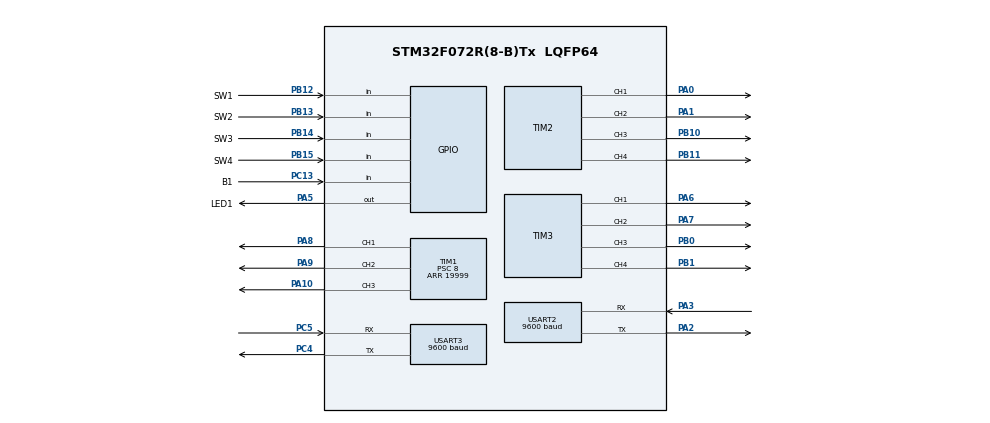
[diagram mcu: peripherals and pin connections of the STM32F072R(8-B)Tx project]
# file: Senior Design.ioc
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Mcu.Family=STM32F0
Mcu.Name=STM32F072R(8-B)Tx
Mcu.Package=LQFP64
NVIC.RCC_CRS_IRQn=true\:0\:0\:false\:false\:true\:true
PA0.Signal=S_TIM2_CH1_ETR
PA1.Signal=S_TIM2_CH2
PA10.Signal=S_TIM1_CH3
PA2.Mode=Asynchronous
PA2.Signal=USART2_TX
PA3.Mode=Asynchronous
PA3.Signal=USART2_RX
PA5.GPIO_Label=LED1
PA5.Signal=GPIO_Output
PA6.Signal=S_TIM3_CH1
PA7.Signal=S_TIM3_CH2
PA8.GPIO_Speed=GPIO_SPEED_FREQ_HIGH
PA8.Signal=S_TIM1_CH1
PA9.Signal=S_TIM1_CH2
PB0.Signal=S_TIM3_CH3
PB1.Signal=S_TIM3_CH4
PB10.Signal=S_TIM2_CH3
PB11.Signal=S_TIM2_CH4
PB12.GPIO_Label=SW1
PB12.GPIO_PuPd=GPIO_PULLDOWN
PB12.Signal=GPIO_Input
PB13.GPIO_Label=SW2
PB13.GPIO_PuPd=GPIO_PULLDOWN
PB13.Signal=GPIO_Input
PB14.GPIO_Label=SW3
PB14.GPIO_PuPd=GPIO_PULLDOWN
PB14.Signal=GPIO_Input
PB15.GPIO_Label=SW4
PB15.GPIO_PuPd=GPIO_PULLDOWN
PB15.Signal=GPIO_Input
PC13.GPIO_Label=B1
PC13.Signal=GPIO_Input
PC4.Mode=Asynchronous
PC4.Signal=USART3_TX
PC5.Mode=Asynchronous
PC5.Signal=USART3_RX
PF0-OSC_IN.Mode=HSE-External-Oscillator
PF0-OSC_IN.Signal=RCC_OSC_IN
PF1-OSC_OUT.Mode=HSE-External-Oscillator
PF1-OSC_OUT.Signal=RCC_OSC_OUT
ProjectManager.HeapSize=0x200
ProjectManager.StackSize=0x400
ProjectManager.TargetToolchain=MDK-ARM V5
SH.S_TIM1_CH1.0=TIM1_CH1,PWM Generation1 CH1
SH.S_TIM1_CH2.0=TIM1_CH2,PWM Generation2 CH2
SH.S_TIM1_CH3.0=TIM1_CH3,PWM Generation3 CH3
SH.S_TIM2_CH1_ETR.0=TIM2_CH1,PWM Generation1 CH1
SH.S_TIM2_CH2.0=TIM2_CH2,PWM Generation2 CH2
SH.S_TIM2_CH3.0=TIM2_CH3,PWM Generation3 CH3
SH.S_TIM2_CH4.0=TIM2_CH4,PWM Generation4 CH4
SH.S_TIM3_CH1.0=TIM3_CH1,PWM Generation1 CH1
SH.S_TIM3_CH2.0=TIM3_CH2,PWM Generation2 CH2
SH.S_TIM3_CH3.0=TIM3_CH3,PWM Generation3 CH3
SH.S_TIM3_CH4.0=TIM3_CH4,PWM Generation4 CH4
TIM1.Channel-PWM\ Generation1\ CH1=TIM_CHANNEL_1
TIM1.Channel-PWM\ Generation2\ CH2=TIM_CHANNEL_2
TIM1.Channel-PWM\ Generation3\ CH3=TIM_CHANNEL_3
TIM1.OCFastMode_PWM-PWM\ Generation1\ CH1=TIM_OCFAST_ENABLE
TIM1.Period=19999
TIM1.Prescaler=8
TIM2.Channel-PWM\ Generation1\ CH1=TIM_CHANNEL_1
TIM2.Channel-PWM\ Generation2\ CH2=TIM_CHANNEL_2
TIM2.Channel-PWM\ Generation3\ CH3=TIM_CHANNEL_3
TIM2.Channel-PWM\ Generation4\ CH4=TIM_CHANNEL_4
TIM3.Channel-PWM\ Generation1\ CH1=TIM_CHANNEL_1
TIM3.Channel-PWM\ Generation2\ CH2=TIM_CHANNEL_2
TIM3.Channel-PWM\ Generation3\ CH3=TIM_CHANNEL_3
TIM3.Channel-PWM\ Generation4\ CH4=TIM_CHANNEL_4
USART2.BaudRate=9600
USART2.VirtualMode-Asynchronous=VM_ASYNC
USART3.BaudRate=9600
USART3.VirtualMode-Asynchronous=VM_ASYNC
board=custom

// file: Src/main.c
/**
  ******************************************************************************
  * @file           : main.c
  * @brief          : Main program body
  ******************************************************************************
  ** This notice applies to any and all portions of this file
  * that are not between comment pairs USER CODE BEGIN and
  * USER CODE END. Other portions of this file, whether
  * inserted by the user or by software development tools
  * are owned by their respective copyright owners.
  *
  * COPYRIGHT(c) 2018 STMicroelectronics
  *
  * Redistribution and use in source and binary forms, with or without modification,
  * are permitted provided that the following conditions are met:
  *   1. Redistributions of source code must retain the above copyright notice,
  *      this list of conditions and the following disclaimer.
  *   2. Redistributions in binary form must reproduce the above copyright notice,
  *      this list of conditions and the following disclaimer in the documentation
  *      and/or other materials provided with the distribution.
  *   3. Neither the name of STMicroelectronics nor the names of its contributors
  *      may be used to endorse or promote products derived from this software
  *      without specific prior written permission.
  *
  * THIS SOFTWARE IS PROVIDED BY THE COPYRIGHT HOLDERS AND CONTRIBUTORS "AS IS"
  * AND ANY EXPRESS OR IMPLIED WARRANTIES, INCLUDING, BUT NOT LIMITED TO, THE
  * IMPLIED WARRANTIES OF MERCHANTABILITY AND FITNESS FOR A PARTICULAR PURPOSE ARE
  * DISCLAIMED. IN NO EVENT SHALL THE COPYRIGHT HOLDER OR CONTRIBUTORS BE LIABLE
  * FOR ANY DIRECT, INDIRECT, INCIDENTAL, SPECIAL, EXEMPLARY, OR CONSEQUENTIAL
  * DAMAGES (INCLUDING, BUT NOT LIMITED TO, PROCUREMENT OF SUBSTITUTE GOODS OR
  * SERVICES; LOSS OF USE, DATA, OR PROFITS; OR BUSINESS INTERRUPTION) HOWEVER
  * CAUSED AND ON ANY THEORY OF LIABILITY, WHETHER IN CONTRACT, STRICT LIABILITY,
  * OR TORT (INCLUDING NEGLIGENCE OR OTHERWISE) ARISING IN ANY WAY OUT OF THE USE
  * OF THIS SOFTWARE, EVEN IF ADVISED OF THE POSSIBILITY OF SUCH DAMAGE.
  *
  ******************************************************************************
  */
#include "main.h"
#include "stm32f0xx_hal.h"

TIM_HandleTypeDef htim1;
TIM_HandleTypeDef htim2;
TIM_HandleTypeDef htim3;

UART_HandleTypeDef huart2;
UART_HandleTypeDef huart3;

/* USER CODE BEGIN PV */
/* Private variables ---------------------------------------------------------*/

/* USER CODE END PV */

void SystemClock_Config(void);
static void MX_GPIO_Init(void);
static void MX_TIM1_Init(void);
static void MX_USART3_UART_Init(void);
static void MX_USART2_UART_Init(void);
static void MX_TIM2_Init(void);
static void MX_TIM3_Init(void);
void HAL_TIM_MspPostInit(TIM_HandleTypeDef *htim);

/* USER CODE BEGIN PFP */
/* Private function prototypes -----------------------------------------------*/
uint8_t recieve_data(void){

}
uint8_t run_switch(uint8_t instruct){
    if(instruct == 0x01){ //switch 0 to state 1
        TIM1->CCR1 = 1175;
        return 1;
    }
    else if(instruct == 0x00){
        TIM1->CCR1 = 1350;
        return 1;
    }
    else if(instruct == 0x03){
        TIM1->CCR2 = 1175;
        return 1;
    }
    else if(instruct == 0x02){
        TIM1->CCR2 = 1350;
        return 1;
    }
    else{
        return 0;
    }
}
uint8_t recieve_command(void){

}
/* USER CODE END PFP */

int main(void)
{

  /* MCU Configuration----------------------------------------------------------*/

  /* Reset of all peripherals, Initializes the Flash interface and the Systick. */
  HAL_Init();

  /* USER CODE BEGIN Init */
    uint8_t data;
    uint8_t packet_started = 0;
    uint8_t packet_index = 0;
    uint8_t packet[256];
  /* USER CODE END Init */

  /* Configure the system clock */
  SystemClock_Config();

  /* Initialize all configured peripherals */
  MX_GPIO_Init();
  MX_TIM1_Init();
  MX_USART3_UART_Init();
  MX_USART2_UART_Init();
  MX_TIM2_Init();
  MX_TIM3_Init();
  /* USER CODE BEGIN 2 */
  HAL_TIM_PWM_Start(&htim1, TIM_CHANNEL_1); //start timer1, channel 1
  HAL_TIM_PWM_Start(&htim1, TIM_CHANNEL_2); //start timer1, channel 2
  HAL_TIM_PWM_Start(&htim1, TIM_CHANNEL_3); //start timer1, channel 3
  //TIM1->CCR1 = 1800;
  //TIM1->CCR2 = 1800;
  //TIM1->CCR3 = 1800;
  /* USER CODE END 2 */

  /* Infinite loop */
  /* USER CODE BEGIN WHILE */
  while (1)
  {
    // uart over usb debugging
    //char msg[] = "Hi!\n";
    //HAL_UART_Transmit(&huart2, (uint8_t*)msg, 4, HAL_MAX_DELAY);

    while(HAL_UART_Receive(&huart2,&data, 1, HAL_MAX_DELAY) != HAL_OK){}
    //HAL_GPIO_WritePin(GPIOA, LED2_Pin, GPIO_PIN_SET);    //test LED PA9
    //HAL_UART_Transmit(&huart2, &data, 1, HAL_MAX_DELAY);  //UART test code for dev board
    if((data == 0x7E) && !packet_started)
    {
      packet[0] = data;
      packet_index = 1;
      packet_started = 1;
    }
    else if(packet_started)
    {
      packet[packet_index] = data;
      packet_index++;

      if(packet_index > 3)
      {
        uint8_t length = packet[2];
        if(packet_index == (length + 4))
        {
          // Receive data
          if(packet[3] == 0x90)
          {
            // Packet complete
                run_switch(packet[15]);
          }

          // Reset all counters
          packet_started = 0;
          packet_index = 0;
        }
      }
    }
  /* USER CODE END WHILE */

  }

}

void SystemClock_Config(void)
{

  RCC_OscInitTypeDef RCC_OscInitStruct;
  RCC_ClkInitTypeDef RCC_ClkInitStruct;
  RCC_PeriphCLKInitTypeDef PeriphClkInit;

    /**Initializes the CPU, AHB and APB busses clocks
    */
  RCC_OscInitStruct.OscillatorType = RCC_OSCILLATORTYPE_HSI;
  RCC_OscInitStruct.HSIState = RCC_HSI_ON;
  RCC_OscInitStruct.HSICalibrationValue = 16;
  RCC_OscInitStruct.PLL.PLLState = RCC_PLL_NONE;
  if (HAL_RCC_OscConfig(&RCC_OscInitStruct) != HAL_OK)
  {
    _Error_Handler(__FILE__, __LINE__);
  }

    /**Initializes the CPU, AHB and APB busses clocks
    */
  RCC_ClkInitStruct.ClockType = RCC_CLOCKTYPE_HCLK|RCC_CLOCKTYPE_SYSCLK
                              |RCC_CLOCKTYPE_PCLK1;
  RCC_ClkInitStruct.SYSCLKSource = RCC_SYSCLKSOURCE_HSI;
  RCC_ClkInitStruct.AHBCLKDivider = RCC_SYSCLK_DIV1;
  RCC_ClkInitStruct.APB1CLKDivider = RCC_HCLK_DIV1;

  if (HAL_RCC_ClockConfig(&RCC_ClkInitStruct, FLASH_LATENCY_0) != HAL_OK)
  {
    _Error_Handler(__FILE__, __LINE__);
  }

  PeriphClkInit.PeriphClockSelection = RCC_PERIPHCLK_USART2;
  PeriphClkInit.Usart2ClockSelection = RCC_USART2CLKSOURCE_PCLK1;
  if (HAL_RCCEx_PeriphCLKConfig(&PeriphClkInit) != HAL_OK)
  {
    _Error_Handler(__FILE__, __LINE__);
  }

    /**Configure the Systick interrupt time
    */
  HAL_SYSTICK_Config(HAL_RCC_GetHCLKFreq()/1000);

    /**Configure the Systick
    */
  HAL_SYSTICK_CLKSourceConfig(SYSTICK_CLKSOURCE_HCLK);

  /* SysTick_IRQn interrupt configuration */
  HAL_NVIC_SetPriority(SysTick_IRQn, 0, 0);
}

/* TIM1 init function */
static void MX_TIM1_Init(void)
{

  TIM_MasterConfigTypeDef sMasterConfig;
  TIM_OC_InitTypeDef sConfigOC;
  TIM_BreakDeadTimeConfigTypeDef sBreakDeadTimeConfig;

  htim1.Instance = TIM1;
  htim1.Init.Prescaler = 8;
  htim1.Init.CounterMode = TIM_COUNTERMODE_UP;
  htim1.Init.Period = 19999;
  htim1.Init.ClockDivision = TIM_CLOCKDIVISION_DIV1;
  htim1.Init.RepetitionCounter = 0;
  htim1.Init.AutoReloadPreload = TIM_AUTORELOAD_PRELOAD_DISABLE;
  if (HAL_TIM_PWM_Init(&htim1) != HAL_OK)
  {
    _Error_Handler(__FILE__, __LINE__);
  }

  sMasterConfig.MasterOutputTrigger = TIM_TRGO_RESET;
  sMasterConfig.MasterSlaveMode = TIM_MASTERSLAVEMODE_DISABLE;
  if (HAL_TIMEx_MasterConfigSynchronization(&htim1, &sMasterConfig) != HAL_OK)
  {
    _Error_Handler(__FILE__, __LINE__);
  }

  sConfigOC.OCMode = TIM_OCMODE_PWM1;
  sConfigOC.Pulse = 0;
  sConfigOC.OCPolarity = TIM_OCPOLARITY_HIGH;
  sConfigOC.OCNPolarity = TIM_OCNPOLARITY_HIGH;
  sConfigOC.OCFastMode = TIM_OCFAST_ENABLE;
  sConfigOC.OCIdleState = TIM_OCIDLESTATE_RESET;
  sConfigOC.OCNIdleState = TIM_OCNIDLESTATE_RESET;
  if (HAL_TIM_PWM_ConfigChannel(&htim1, &sConfigOC, TIM_CHANNEL_1) != HAL_OK)
  {
    _Error_Handler(__FILE__, __LINE__);
  }

  sConfigOC.OCFastMode = TIM_OCFAST_DISABLE;
  if (HAL_TIM_PWM_ConfigChannel(&htim1, &sConfigOC, TIM_CHANNEL_2) != HAL_OK)
  {
    _Error_Handler(__FILE__, __LINE__);
  }

  if (HAL_TIM_PWM_ConfigChannel(&htim1, &sConfigOC, TIM_CHANNEL_3) != HAL_OK)
  {
    _Error_Handler(__FILE__, __LINE__);
  }

  sBreakDeadTimeConfig.OffStateRunMode = TIM_OSSR_DISABLE;
  sBreakDeadTimeConfig.OffStateIDLEMode = TIM_OSSI_DISABLE;
  sBreakDeadTimeConfig.LockLevel = TIM_LOCKLEVEL_OFF;
  sBreakDeadTimeConfig.DeadTime = 0;
  sBreakDeadTimeConfig.BreakState = TIM_BREAK_DISABLE;
  sBreakDeadTimeConfig.BreakPolarity = TIM_BREAKPOLARITY_HIGH;
  sBreakDeadTimeConfig.AutomaticOutput = TIM_AUTOMATICOUTPUT_DISABLE;
  if (HAL_TIMEx_ConfigBreakDeadTime(&htim1, &sBreakDeadTimeConfig) != HAL_OK)
  {
    _Error_Handler(__FILE__, __LINE__);
  }

  HAL_TIM_MspPostInit(&htim1);

}

/* TIM2 init function */
static void MX_TIM2_Init(void)
{

  TIM_MasterConfigTypeDef sMasterConfig;
  TIM_OC_InitTypeDef sConfigOC;

  htim2.Instance = TIM2;
  htim2.Init.Prescaler = 0;
  htim2.Init.CounterMode = TIM_COUNTERMODE_UP;
  htim2.Init.Period = 0;
  htim2.Init.ClockDivision = TIM_CLOCKDIVISION_DIV1;
  htim2.Init.AutoReloadPreload = TIM_AUTORELOAD_PRELOAD_DISABLE;
  if (HAL_TIM_PWM_Init(&htim2) != HAL_OK)
  {
    _Error_Handler(__FILE__, __LINE__);
  }

  sMasterConfig.MasterOutputTrigger = TIM_TRGO_RESET;
  sMasterConfig.MasterSlaveMode = TIM_MASTERSLAVEMODE_DISABLE;
  if (HAL_TIMEx_MasterConfigSynchronization(&htim2, &sMasterConfig) != HAL_OK)
  {
    _Error_Handler(__FILE__, __LINE__);
  }

  sConfigOC.OCMode = TIM_OCMODE_PWM1;
  sConfigOC.Pulse = 0;
  sConfigOC.OCPolarity = TIM_OCPOLARITY_HIGH;
  sConfigOC.OCFastMode = TIM_OCFAST_DISABLE;
  if (HAL_TIM_PWM_ConfigChannel(&htim2, &sConfigOC, TIM_CHANNEL_1) != HAL_OK)
  {
    _Error_Handler(__FILE__, __LINE__);
  }

  if (HAL_TIM_PWM_ConfigChannel(&htim2, &sConfigOC, TIM_CHANNEL_2) != HAL_OK)
  {
    _Error_Handler(__FILE__, __LINE__);
  }

  if (HAL_TIM_PWM_ConfigChannel(&htim2, &sConfigOC, TIM_CHANNEL_3) != HAL_OK)
  {
    _Error_Handler(__FILE__, __LINE__);
  }

  if (HAL_TIM_PWM_ConfigChannel(&htim2, &sConfigOC, TIM_CHANNEL_4) != HAL_OK)
  {
    _Error_Handler(__FILE__, __LINE__);
  }

  HAL_TIM_MspPostInit(&htim2);

}

/* TIM3 init function */
static void MX_TIM3_Init(void)
{

  TIM_MasterConfigTypeDef sMasterConfig;
  TIM_OC_InitTypeDef sConfigOC;

  htim3.Instance = TIM3;
  htim3.Init.Prescaler = 0;
  htim3.Init.CounterMode = TIM_COUNTERMODE_UP;
  htim3.Init.Period = 0;
  htim3.Init.ClockDivision = TIM_CLOCKDIVISION_DIV1;
  htim3.Init.AutoReloadPreload = TIM_AUTORELOAD_PRELOAD_DISABLE;
  if (HAL_TIM_PWM_Init(&htim3) != HAL_OK)
  {
    _Error_Handler(__FILE__, __LINE__);
  }

  sMasterConfig.MasterOutputTrigger = TIM_TRGO_RESET;
  sMasterConfig.MasterSlaveMode = TIM_MASTERSLAVEMODE_DISABLE;
  if (HAL_TIMEx_MasterConfigSynchronization(&htim3, &sMasterConfig) != HAL_OK)
  {
    _Error_Handler(__FILE__, __LINE__);
  }

  sConfigOC.OCMode = TIM_OCMODE_PWM1;
  sConfigOC.Pulse = 0;
  sConfigOC.OCPolarity = TIM_OCPOLARITY_HIGH;
  sConfigOC.OCFastMode = TIM_OCFAST_DISABLE;
  if (HAL_TIM_PWM_ConfigChannel(&htim3, &sConfigOC, TIM_CHANNEL_1) != HAL_OK)
  {
    _Error_Handler(__FILE__, __LINE__);
  }

  if (HAL_TIM_PWM_ConfigChannel(&htim3, &sConfigOC, TIM_CHANNEL_2) != HAL_OK)
  {
    _Error_Handler(__FILE__, __LINE__);
  }

  if (HAL_TIM_PWM_ConfigChannel(&htim3, &sConfigOC, TIM_CHANNEL_3) != HAL_OK)
  {
    _Error_Handler(__FILE__, __LINE__);
  }

  if (HAL_TIM_PWM_ConfigChannel(&htim3, &sConfigOC, TIM_CHANNEL_4) != HAL_OK)
  {
    _Error_Handler(__FILE__, __LINE__);
  }

  HAL_TIM_MspPostInit(&htim3);

}

/* USART2 init function */
static void MX_USART2_UART_Init(void)
{

  huart2.Instance = USART2;
  huart2.Init.BaudRate = 9600;
  huart2.Init.WordLength = UART_WORDLENGTH_8B;
  huart2.Init.StopBits = UART_STOPBITS_1;
  huart2.Init.Parity = UART_PARITY_NONE;
  huart2.Init.Mode = UART_MODE_TX_RX;
  huart2.Init.HwFlowCtl = UART_HWCONTROL_NONE;
  huart2.Init.OverSampling = UART_OVERSAMPLING_16;
  huart2.Init.OneBitSampling = UART_ONE_BIT_SAMPLE_DISABLE;
  huart2.AdvancedInit.AdvFeatureInit = UART_ADVFEATURE_NO_INIT;
  if (HAL_UART_Init(&huart2) != HAL_OK)
  {
    _Error_Handler(__FILE__, __LINE__);
  }

}

/* USART3 init function */
static void MX_USART3_UART_Init(void)
{

  huart3.Instance = USART3;
  huart3.Init.BaudRate = 9600;
  huart3.Init.WordLength = UART_WORDLENGTH_8B;
  huart3.Init.StopBits = UART_STOPBITS_1;
  huart3.Init.Parity = UART_PARITY_NONE;
  huart3.Init.Mode = UART_MODE_TX_RX;
  huart3.Init.HwFlowCtl = UART_HWCONTROL_NONE;
  huart3.Init.OverSampling = UART_OVERSAMPLING_16;
  huart3.Init.OneBitSampling = UART_ONE_BIT_SAMPLE_DISABLE;
  huart3.AdvancedInit.AdvFeatureInit = UART_ADVFEATURE_NO_INIT;
  if (HAL_UART_Init(&huart3) != HAL_OK)
  {
    _Error_Handler(__FILE__, __LINE__);
  }

}

/** Configure pins as
        * Analog
        * Input
        * Output
        * EVENT_OUT
        * EXTI
*/
static void MX_GPIO_Init(void)
{

  GPIO_InitTypeDef GPIO_InitStruct;

  /* GPIO Ports Clock Enable */
  __HAL_RCC_GPIOC_CLK_ENABLE();
  __HAL_RCC_GPIOF_CLK_ENABLE();
  __HAL_RCC_GPIOA_CLK_ENABLE();
  __HAL_RCC_GPIOB_CLK_ENABLE();

  /*Configure GPIO pin Output Level */
  HAL_GPIO_WritePin(LED1_GPIO_Port, LED1_Pin, GPIO_PIN_RESET);

  /*Configure GPIO pin : B1_Pin */
  GPIO_InitStruct.Pin = B1_Pin;
  GPIO_InitStruct.Mode = GPIO_MODE_INPUT;
  GPIO_InitStruct.Pull = GPIO_NOPULL;
  HAL_GPIO_Init(B1_GPIO_Port, &GPIO_InitStruct);

  /*Configure GPIO pin : LED1_Pin */
  GPIO_InitStruct.Pin = LED1_Pin;
  GPIO_InitStruct.Mode = GPIO_MODE_OUTPUT_PP;
  GPIO_InitStruct.Pull = GPIO_NOPULL;
  GPIO_InitStruct.Speed = GPIO_SPEED_FREQ_LOW;
  HAL_GPIO_Init(LED1_GPIO_Port, &GPIO_InitStruct);

  /*Configure GPIO pins : SW1_Pin SW2_Pin SW3_Pin SW4_Pin */
  GPIO_InitStruct.Pin = SW1_Pin|SW2_Pin|SW3_Pin|SW4_Pin;
  GPIO_InitStruct.Mode = GPIO_MODE_INPUT;
  GPIO_InitStruct.Pull = GPIO_PULLDOWN;
  HAL_GPIO_Init(GPIOB, &GPIO_InitStruct);

}

void _Error_Handler(char *file, int line)
{
  while(1)
  {
  }
}

/************************ (C) COPYRIGHT STMicroelectronics *****END OF FILE****/
